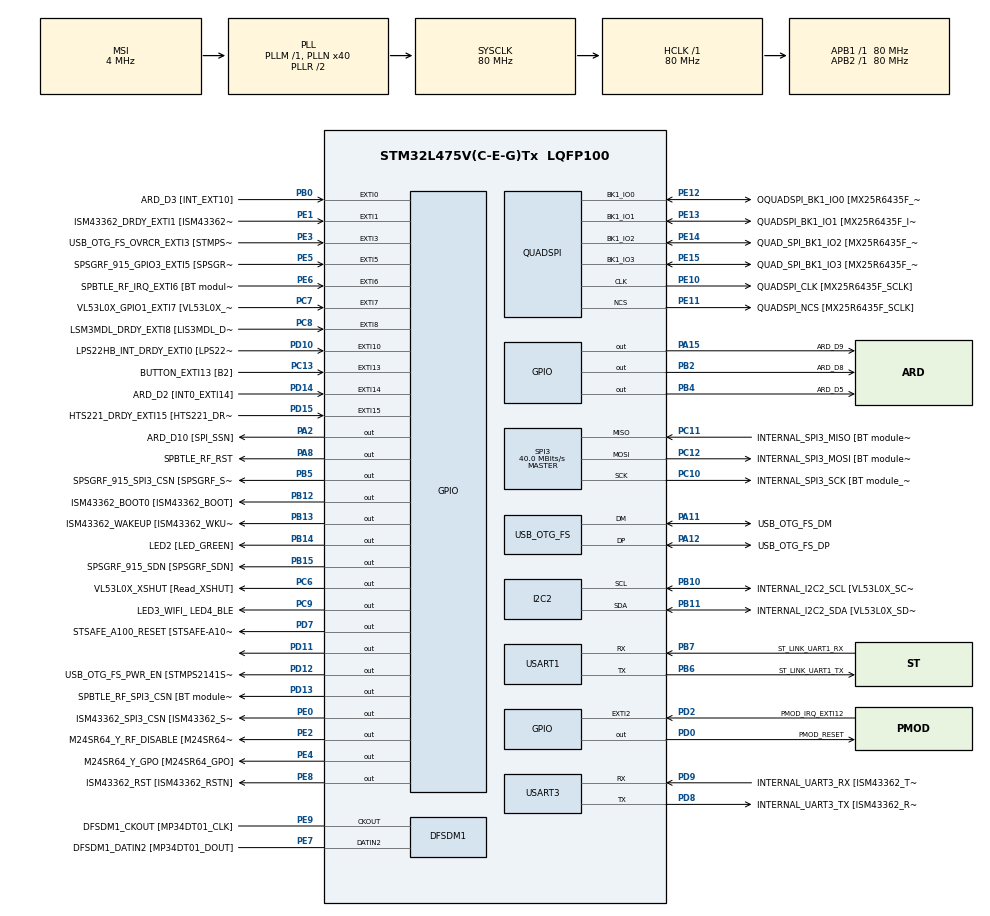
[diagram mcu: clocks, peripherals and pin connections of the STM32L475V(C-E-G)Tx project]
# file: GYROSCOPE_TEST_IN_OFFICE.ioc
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I2C2.Timing=0x10D19CE4
Mcu.Family=STM32L4
Mcu.Name=STM32L475V(C-E-G)Tx
Mcu.Package=LQFP100
NVIC.EXTI15_10_IRQn=true\:0\:0\:false\:false\:true\:true\:true\:true
NVIC.EXTI9_5_IRQn=true\:0\:0\:false\:false\:true\:true\:true\:true
NVIC.PriorityGroup=NVIC_PRIORITYGROUP_4
PA0.GPIO_Label=ARD_D1 [UART4_TX]
PA0.Signal=UART4_TX
PA1.GPIO_Label=ARD_D0 [UART4_RX]
PA1.Signal=UART4_RX
PA10.GPIO_Label=USB_OTG_FS_ID
PA10.Signal=USB_OTG_FS_ID
PA11.GPIO_Label=USB_OTG_FS_DM
PA11.Mode=Device_Only
PA11.Signal=USB_OTG_FS_DM
PA12.GPIO_Label=USB_OTG_FS_DP
PA12.Mode=Device_Only
PA12.Signal=USB_OTG_FS_DP
PA13\ (JTMS-SWDIO).GPIO_Label=SYS_JTMS_SWDIO
PA13\ (JTMS-SWDIO).Mode=Serial_Wire
PA13\ (JTMS-SWDIO).Signal=SYS_JTMS-SWDIO
PA14\ (JTCK-SWCLK).GPIO_Label=SYS_JTCK_SWCLK
PA14\ (JTCK-SWCLK).Mode=Serial_Wire
PA14\ (JTCK-SWCLK).Signal=SYS_JTCK-SWCLK
PA15\ (JTDI).GPIO_Label=ARD_D9
PA15\ (JTDI).Signal=GPIO_Output
PA2.GPIO_Label=ARD_D10 [SPI_SSN]
PA2.Signal=GPIO_Output
PA3.GPIO_Label=ARD_D4
PA3.Signal=S_TIM2_CH4
PA4.GPIO_Label=ARD_D7
PA4.Signal=ADCx_IN9
PA5.GPIO_Label=ARD_D13 [SPI1_SCK]
PA5.Signal=SPI1_SCK
PA6.GPIO_Label=ARD_D12 [SPI1_MISO]
PA6.Signal=SPI1_MISO
PA7.GPIO_Label=ARD_D11 [SPI1_MOSI]
PA7.Signal=SPI1_MOSI
PA8.GPIO_Label=SPBTLE_RF_RST
PA8.Signal=GPIO_Output
PA9.GPIO_Label=USB_OTG_FS_VBUS [STMPS2141STR_OUT]
PA9.Signal=USB_OTG_FS_VBUS
PB0.GPIO_Label=ARD_D3 [INT_EXT10]
PB0.Signal=GPXTI0
PB1.GPIO_Label=ARD_D6 [ADC1_IN6]
PB1.Signal=ADCx_IN16
PB10.GPIO_Label=INTERNAL_I2C2_SCL [VL53L0X_SCL]
PB10.GPIO_Pu=GPIO_PULLUP
PB10.Mode=I2C
PB10.Signal=I2C2_SCL
PB11.GPIO_Label=INTERNAL_I2C2_SDA [VL53L0X_SDA]
PB11.GPIO_Pu=GPIO_PULLUP
PB11.Mode=I2C
PB11.Signal=I2C2_SDA
PB12.GPIO_Label=ISM43362_BOOT0 [ISM43362_BOOT]
PB12.Signal=GPIO_Output
PB13.GPIO_Label=ISM43362_WAKEUP [ISM43362_WKUP]
PB13.Signal=GPIO_Output
PB14.GPIO_Label=LED2 [LED_GREEN]
PB14.Signal=GPIO_Output
PB15.GPIO_Label=SPSGRF_915_SDN [SPSGRF_SDN]
PB15.Signal=GPIO_Output
PB2.GPIO_Label=ARD_D8
PB2.Signal=GPIO_Output
PB3\ (JTDO-TRACESWO).GPIO_Label=SYS_JTD0_SWO
PB3\ (JTDO-TRACESWO).Signal=SYS_JTDO-SWO
PB4\ (NJTRST).GPIO_Label=ARD_D5
PB4\ (NJTRST).Signal=GPIO_Output
PB5.GPIO_Label=SPSGRF_915_SPI3_CSN [SPSGRF_SPI_CS]
PB5.PinState=GPIO_PIN_SET
PB5.Signal=GPIO_Output
PB6.GPIO_Label=ST_LINK_UART1_TX
PB6.Mode=Asynchronous
PB6.Signal=USART1_TX
PB7.GPIO_Label=ST_LINK_UART1_RX
PB7.Mode=Asynchronous
PB7.Signal=USART1_RX
PB8.GPIO_Label=ARD_D15 [I2C1_SCL]
PB8.Signal=I2C1_SCL
PB9.GPIO_Label=ARD_D14 [I2C1_SDA]
PB9.Signal=I2C1_SDA
PC0.GPIO_Label=ARD_A5 [ADC]
PC0.Signal=ADCx_IN1
PC1.GPIO_Label=ARD_A4 [ADC]
PC1.Signal=ADCx_IN2
PC10.GPIO_Label=INTERNAL_SPI3_SCK [BT module_SPI_SCLK] [ISM43362_SCK]
PC10.Mode=Full_Duplex_Master
PC10.Signal=SPI3_SCK
PC11.GPIO_Label=INTERNAL_SPI3_MISO [BT module_SPI_MISO] [ISM43362_MISO]
PC11.Mode=Full_Duplex_Master
PC11.Signal=SPI3_MISO
PC12.GPIO_Label=INTERNAL_SPI3_MOSI [BT module_SPI_MOSI] [ISM43362_MOSI]
PC12.Mode=Full_Duplex_Master
PC12.Signal=SPI3_MOSI
PC13.GPIO_Label=BUTTON_EXTI13 [B2]
PC13.GPIO_ModeDefaultEXTI=GPIO_MODE_IT_FALLING
PC13.Signal=GPXTI13
PC14-OSC32_IN\ (PC14).Mode=LSE-External-Oscillator
PC14-OSC32_IN\ (PC14).Signal=RCC_OSC32_IN
PC15-OSC32_OUT\ (PC15).Mode=LSE-External-Oscillator
PC15-OSC32_OUT\ (PC15).Signal=RCC_OSC32_OUT
PC2.GPIO_Label=ARD_A3 [ADC]
PC2.Signal=ADCx_IN3
PC3.GPIO_Label=ARD_A2 [ADC]
PC3.Signal=ADCx_IN4
PC4.GPIO_Label=ARD_A1 [ADC]
PC4.Signal=ADCx_IN13
PC5.GPIO_Label=ARD_A0 [ADC]
PC5.Signal=ADCx_IN14
PC6.GPIO_Label=VL53L0X_XSHUT [Read_XSHUT]
PC6.Signal=GPIO_Output
PC7.GPIO_Label=VL53L0X_GPIO1_EXTI7 [VL53L0X_GPIO1]
PC7.Signal=GPXTI7
PC8.GPIO_Label=LSM3MDL_DRDY_EXTI8 [LIS3MDL_DRDY]
PC8.Signal=GPXTI8
PC9.GPIO_Label=LED3_WIFI_ LED4_BLE
PC9.Signal=GPIO_Output
PD0.GPIO_Label=PMOD_RESET
PD0.Signal=GPIO_Output
PD1.GPIO_Label=PMOD_SPI2_SCK
PD1.Signal=SPI2_SCK
PD10.GPIO_Label=LPS22HB_INT_DRDY_EXTI0 [LPS22HB_INT_DRDY] 
PD10.Signal=GPXTI10
PD11.PinState=GPIO_PIN_SET
PD11.Signal=GPIO_Output
PD12.GPIO_Label=USB_OTG_FS_PWR_EN [STMPS2141STR_EN]
PD12.Signal=GPIO_Output
PD13.GPIO_Label=SPBTLE_RF_SPI3_CSN [BT module_SPI_CS]
PD13.PinState=GPIO_PIN_SET
PD13.Signal=GPIO_Output
PD14.GPIO_Label=ARD_D2 [INT0_EXTI14]
PD14.Signal=GPXTI14
PD15.GPIO_Label=HTS221_DRDY_EXTI15 [HTS221_DRDY]
PD15.Signal=GPXTI15
PD2.GPIO_Label=PMOD_IRQ_EXTI12
PD2.Signal=GPXTI2
PD3.GPIO_Label=PMOD_UART2_CTS
PD3.Signal=USART2_CTS
PD4.GPIO_Label=PMOD_UART2_RTS
PD4.Signal=USART2_RTS
PD5.GPIO_Label=PMOD_UART2_TX
PD5.Signal=USART2_TX
PD6.GPIO_Label=PMOD_UART2_RX
PD6.Signal=USART2_RX
PD7.GPIO_Label=STSAFE_A100_RESET [STSAFE-A100_RESET]
PD7.Signal=GPIO_Output
PD8.GPIO_Label=INTERNAL_UART3_TX [ISM43362_RX]
PD8.Mode=Asynchronous
PD8.Signal=USART3_TX
PD9.GPIO_Label=INTERNAL_UART3_RX [ISM43362_TX]
PD9.Mode=Asynchronous
PD9.Signal=USART3_RX
PE0.GPIO_Label=ISM43362_SPI3_CSN [ISM43362_SSN]
PE0.PinState=GPIO_PIN_SET
PE0.Signal=GPIO_Output
PE1.GPIO_Label=ISM43362_DRDY_EXTI1 [ISM43362_DATARDY]
PE1.Signal=GPXTI1
PE10.GPIO_Label=QUADSPI_CLK [MX25R6435F_SCLK]
PE10.Mode=Single Bank
PE10.Signal=QUADSPI_CLK
PE11.GPIO_Label=QUADSPI_NCS [MX25R6435F_SCLK]
PE11.Mode=Single Bank
PE11.Signal=QUADSPI_NCS
PE12.GPIO_Label=OQUADSPI_BK1_IO0 [MX25R6435F_IO0]
PE12.Mode=Single Bank
PE12.Signal=QUADSPI_BK1_IO0
PE13.GPIO_Label=QUADSPI_BK1_IO1 [MX25R6435F_IO1]
PE13.Mode=Single Bank
PE13.Signal=QUADSPI_BK1_IO1
PE14.GPIO_Label=QUAD_SPI_BK1_IO2 [MX25R6435F_IO2]
PE14.Mode=Single Bank
PE14.Signal=QUADSPI_BK1_IO2
PE15.GPIO_Label=QUAD_SPI_BK1_IO3 [MX25R6435F_IO3]
PE15.Mode=Single Bank
PE15.Signal=QUADSPI_BK1_IO3
PE2.GPIO_Label=M24SR64_Y_RF_DISABLE [M24SR64_RFDIS]
PE2.Signal=GPIO_Output
PE3.GPIO_Label=USB_OTG_FS_OVRCR_EXTI3 [STMPS2141STR_FAULT]
PE3.Signal=GPXTI3
PE4.GPIO_Label=M24SR64_Y_GPO [M24SR64_GPO]
PE4.Signal=GPIO_Output
PE5.GPIO_Label=SPSGRF_915_GPIO3_EXTI5 [SPSGRF_GPIO_3]
PE5.Signal=GPXTI5
PE6.GPIO_Label=SPBTLE_RF_IRQ_EXTI6 [BT module_SPI_IRQ]
PE6.Signal=GPXTI6
PE7.GPIO_Label=DFSDM1_DATIN2 [MP34DT01_DOUT]
PE7.Signal=S_DATAIN2DFSDM1
PE8.GPIO_Label=ISM43362_RST [ISM43362_RSTN]
PE8.Signal=GPIO_Output
PE9.GPIO_Label=DFSDM1_CKOUT [MP34DT01_CLK]
PE9.Signal=S_CKOUTDFSDM1
ProjectManager.HeapSize=0x200
ProjectManager.StackSize=0x400
ProjectManager.TargetToolchain=STM32CubeIDE
QUADSPI.ClockPrescaler=2
QUADSPI.FifoThreshold=4
QUADSPI.FlashSize=23
QUADSPI.SampleShifting=QSPI_SAMPLE_SHIFTING_HALFCYCLE
RCC.ADCFreq_Value=48000000
RCC.AHBFreq_Value=80000000
RCC.APB1Freq_Value=80000000
RCC.APB1TimFreq_Value=80000000
RCC.APB2Freq_Value=80000000
RCC.APB2TimFreq_Value=80000000
RCC.CortexFreq_Value=80000000
RCC.HCLKFreq_Value=80000000
RCC.HSE_VALUE=8000000
RCC.HSI_VALUE=16000000
RCC.MSI_VALUE=4000000
RCC.PLLN=40
RCC.PLLSAI1N=24
RCC.SYSCLKFreq_VALUE=80000000
RCC.SYSCLKSource=RCC_SYSCLKSOURCE_PLLCLK
RCC.USBFreq_Value=48000000
RCC.VCOOutputFreq_Value=160000000
SH.ADCx_IN1.0=ADC1_IN1
SH.ADCx_IN13.0=ADC1_IN13
SH.ADCx_IN14.0=ADC1_IN14
SH.ADCx_IN16.0=ADC1_IN16
SH.ADCx_IN2.0=ADC1_IN2
SH.ADCx_IN3.0=ADC1_IN3
SH.ADCx_IN4.0=ADC1_IN4
SH.ADCx_IN9.0=ADC1_IN9
SH.S_CKOUTDFSDM1.0=DFSDM1_CKOUT,CKOUT
SH.S_CKOUTDFSDM1.1=DFSDM1_CKOUT,PDM_SPI_Input_from_ch12_and_Internal_Clock
SH.S_DATAIN2DFSDM1.0=DFSDM1_DATIN2,PDM_SPI_Input_from_ch12_and_Internal_Clock
SH.S_TIM2_CH4.0=TIM2_CH4
SPI3.CalculateBaudRate=40.0 MBits/s
SPI3.Direction=SPI_DIRECTION_2LINES
SPI3.Mode=SPI_MODE_MASTER
SPI3.VirtualType=VM_MASTER
USART1.VirtualMode-Asynchronous=VM_ASYNC
USART3.VirtualMode-Asynchronous=VM_ASYNC
USB_OTG_FS.VirtualMode=Device_Only
board=B-L475E-IOT01A2

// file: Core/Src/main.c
/* USER CODE BEGIN Header */
/**
  ******************************************************************************
  * @file           : main.c
  * @brief          : Main program body
  ******************************************************************************
  * @attention
  *
  * Copyright (c) 2025 STMicroelectronics.
  * All rights reserved.
  *
  * This software is licensed under terms that can be found in the LICENSE file
  * in the root directory of this software component.
  * If no LICENSE file comes with this software, it is provided AS-IS.
  *
  ******************************************************************************
  */
/* USER CODE END Header */
#include "main.h"
#include <stdio.h>
#include <string.h>

/* USER CODE BEGIN PD */
#define LSM6DSL_I2C_ADDR    0xD4  // 7-bit address shifted left
#define LSM6DSL_WHO_AM_I    0x0F
#define LSM6DSL_CTRL2_G     0x11  // Gyroscope control register
#define LSM6DSL_OUTX_L_G    0x22  // Gyroscope X-axis low byte
#define LSM6DSL_OUTX_H_G    0x23  // Gyroscope X-axis high byte
#define LSM6DSL_OUTY_L_G    0x24  // Gyroscope Y-axis low byte
#define LSM6DSL_OUTY_H_G    0x25  // Gyroscope Y-axis high byte
#define LSM6DSL_OUTZ_L_G    0x26  // Gyroscope Z-axis low byte
#define LSM6DSL_OUTZ_H_G    0x27  // Gyroscope Z-axis high byte
/* USER CODE END PD */

DFSDM_Channel_HandleTypeDef hdfsdm1_channel1;

I2C_HandleTypeDef hi2c2;

QSPI_HandleTypeDef hqspi;

SPI_HandleTypeDef hspi3;

UART_HandleTypeDef huart1;
UART_HandleTypeDef huart3;

PCD_HandleTypeDef hpcd_USB_OTG_FS;

void SystemClock_Config(void);
static void MX_GPIO_Init(void);
static void MX_DFSDM1_Init(void);
static void MX_I2C2_Init(void);
static void MX_QUADSPI_Init(void);
static void MX_SPI3_Init(void);
static void MX_USART1_UART_Init(void);
static void MX_USART3_UART_Init(void);
static void MX_USB_OTG_FS_PCD_Init(void);

/* USER CODE BEGIN 0 */
// Function to write to LSM6DSL register
HAL_StatusTypeDef LSM6DSL_WriteReg(uint8_t reg, uint8_t value) {
    return HAL_I2C_Mem_Write(&hi2c2, LSM6DSL_I2C_ADDR, reg, 1, &value, 1, 1000);
}

// Function to read from LSM6DSL register
HAL_StatusTypeDef LSM6DSL_ReadReg(uint8_t reg, uint8_t *data) {
    return HAL_I2C_Mem_Read(&hi2c2, LSM6DSL_I2C_ADDR, reg, 1, data, 1, 1000);
}

// Function to read multiple registers
HAL_StatusTypeDef LSM6DSL_ReadRegs(uint8_t reg, uint8_t *data, uint8_t length) {
    return HAL_I2C_Mem_Read(&hi2c2, LSM6DSL_I2C_ADDR, reg, 1, data, length, 1000);
}

// Initialize gyroscope
HAL_StatusTypeDef LSM6DSL_Init(void) {
    uint8_t who_am_i;

    // Read WHO_AM_I register
    if (LSM6DSL_ReadReg(LSM6DSL_WHO_AM_I, &who_am_i) != HAL_OK) {
        return HAL_ERROR;
    }

    // Check if device is present (should return 0x6A)
    if (who_am_i != 0x6A) {
        return HAL_ERROR;
    }

    // Configure gyroscope: 208 Hz, 2000 dps
    if (LSM6DSL_WriteReg(LSM6DSL_CTRL2_G, 0x5C) != HAL_OK) {
        return HAL_ERROR;
    }

    return HAL_OK;
}

// Read gyroscope data
HAL_StatusTypeDef LSM6DSL_ReadGyro(int16_t *gyro_x, int16_t *gyro_y, int16_t *gyro_z) {
    uint8_t data[6];

    // Read all 6 bytes at once
    if (LSM6DSL_ReadRegs(LSM6DSL_OUTX_L_G, data, 6) != HAL_OK) {
        return HAL_ERROR;
    }

    // Combine high and low bytes
    *gyro_x = (int16_t)((data[1] << 8) | data[0]);
    *gyro_y = (int16_t)((data[3] << 8) | data[2]);
    *gyro_z = (int16_t)((data[5] << 8) | data[4]);

    return HAL_OK;
}

// Convert raw data to degrees per second
float LSM6DSL_ConvertGyro(int16_t raw_value) {
    // For 2000 dps range: 70 mdps/LSB
    return (float)raw_value * 0.070f;
}

// Printf redirection for UART
int _write(int file, char *ptr, int len) {
    HAL_UART_Transmit(&huart1, (uint8_t*)ptr, len, 1000);
    return len;
}
/* USER CODE END 0 */

int main(void)
{

  /* MCU Configuration--------------------------------------------------------*/

  /* Reset of all peripherals, Initializes the Flash interface and the Systick. */
  HAL_Init();

  /* Configure the system clock */
  SystemClock_Config();

  /* Initialize all configured peripherals */
  MX_GPIO_Init();
  MX_DFSDM1_Init();
  MX_I2C2_Init();
  MX_QUADSPI_Init();
  MX_SPI3_Init();
  MX_USART1_UART_Init();
  MX_USART3_UART_Init();
  MX_USB_OTG_FS_PCD_Init();
  /* USER CODE BEGIN 2 */
  // Initialize gyroscope
  printf("Initializing LSM6DSL gyroscope...\r\n");

  if (LSM6DSL_Init() == HAL_OK) {
      printf("LSM6DSL gyroscope initialized successfully!\r\n");
  } else {
      printf("Failed to initialize LSM6DSL gyroscope!\r\n");
      Error_Handler();
  }

  HAL_Delay(100);
  /* USER CODE END 2 */

  /* Infinite loop */
  while (1)
  {

    /* USER CODE BEGIN 3 */
	  int16_t gyro_x, gyro_y, gyro_z;
	  int gyro_x_dps, gyro_y_dps, gyro_z_dps;

	  // Read gyroscope data
	  if (LSM6DSL_ReadGyro(&gyro_x, &gyro_y, &gyro_z) == HAL_OK) {
	      // Convert to degrees per second
	      gyro_x_dps = LSM6DSL_ConvertGyro(gyro_x);
	      gyro_y_dps = LSM6DSL_ConvertGyro(gyro_y);
	      gyro_z_dps = LSM6DSL_ConvertGyro(gyro_z);

	      // Print values
	      printf("Gyro X: %d dps, Y: %d dps, Z: %d dps\r\n",
	             gyro_x_dps, gyro_y_dps, gyro_z_dps);
	  } else {
	      printf("Failed to read gyroscope data!\r\n");
	  }

	  HAL_Delay(100);  // 100ms delay between readings
  }
  /* USER CODE END 3 */
}

void SystemClock_Config(void)
{
  RCC_OscInitTypeDef RCC_OscInitStruct = {0};
  RCC_ClkInitTypeDef RCC_ClkInitStruct = {0};

  /** Configure the main internal regulator output voltage
  */
  if (HAL_PWREx_ControlVoltageScaling(PWR_REGULATOR_VOLTAGE_SCALE1) != HAL_OK)
  {
    Error_Handler();
  }

  /** Configure LSE Drive Capability
  */
  HAL_PWR_EnableBkUpAccess();
  __HAL_RCC_LSEDRIVE_CONFIG(RCC_LSEDRIVE_LOW);

  /** Initializes the RCC Oscillators according to the specified parameters
  * in the RCC_OscInitTypeDef structure.
  */
  RCC_OscInitStruct.OscillatorType = RCC_OSCILLATORTYPE_LSE|RCC_OSCILLATORTYPE_MSI;
  RCC_OscInitStruct.LSEState = RCC_LSE_ON;
  RCC_OscInitStruct.MSIState = RCC_MSI_ON;
  RCC_OscInitStruct.MSICalibrationValue = 0;
  RCC_OscInitStruct.MSIClockRange = RCC_MSIRANGE_6;
  RCC_OscInitStruct.PLL.PLLState = RCC_PLL_ON;
  RCC_OscInitStruct.PLL.PLLSource = RCC_PLLSOURCE_MSI;
  RCC_OscInitStruct.PLL.PLLM = 1;
  RCC_OscInitStruct.PLL.PLLN = 40;
  RCC_OscInitStruct.PLL.PLLP = RCC_PLLP_DIV7;
  RCC_OscInitStruct.PLL.PLLQ = RCC_PLLQ_DIV2;
  RCC_OscInitStruct.PLL.PLLR = RCC_PLLR_DIV2;
  if (HAL_RCC_OscConfig(&RCC_OscInitStruct) != HAL_OK)
  {
    Error_Handler();
  }

  /** Initializes the CPU, AHB and APB buses clocks
  */
  RCC_ClkInitStruct.ClockType = RCC_CLOCKTYPE_HCLK|RCC_CLOCKTYPE_SYSCLK
                              |RCC_CLOCKTYPE_PCLK1|RCC_CLOCKTYPE_PCLK2;
  RCC_ClkInitStruct.SYSCLKSource = RCC_SYSCLKSOURCE_PLLCLK;
  RCC_ClkInitStruct.AHBCLKDivider = RCC_SYSCLK_DIV1;
  RCC_ClkInitStruct.APB1CLKDivider = RCC_HCLK_DIV1;
  RCC_ClkInitStruct.APB2CLKDivider = RCC_HCLK_DIV1;

  if (HAL_RCC_ClockConfig(&RCC_ClkInitStruct, FLASH_LATENCY_4) != HAL_OK)
  {
    Error_Handler();
  }

  /** Enable MSI Auto calibration
  */
  HAL_RCCEx_EnableMSIPLLMode();
}

static void MX_DFSDM1_Init(void)
{

  hdfsdm1_channel1.Instance = DFSDM1_Channel1;
  hdfsdm1_channel1.Init.OutputClock.Activation = ENABLE;
  hdfsdm1_channel1.Init.OutputClock.Selection = DFSDM_CHANNEL_OUTPUT_CLOCK_SYSTEM;
  hdfsdm1_channel1.Init.OutputClock.Divider = 2;
  hdfsdm1_channel1.Init.Input.Multiplexer = DFSDM_CHANNEL_EXTERNAL_INPUTS;
  hdfsdm1_channel1.Init.Input.DataPacking = DFSDM_CHANNEL_STANDARD_MODE;
  hdfsdm1_channel1.Init.Input.Pins = DFSDM_CHANNEL_FOLLOWING_CHANNEL_PINS;
  hdfsdm1_channel1.Init.SerialInterface.Type = DFSDM_CHANNEL_SPI_RISING;
  hdfsdm1_channel1.Init.SerialInterface.SpiClock = DFSDM_CHANNEL_SPI_CLOCK_INTERNAL;
  hdfsdm1_channel1.Init.Awd.FilterOrder = DFSDM_CHANNEL_FASTSINC_ORDER;
  hdfsdm1_channel1.Init.Awd.Oversampling = 1;
  hdfsdm1_channel1.Init.Offset = 0;
  hdfsdm1_channel1.Init.RightBitShift = 0x00;
  if (HAL_DFSDM_ChannelInit(&hdfsdm1_channel1) != HAL_OK)
  {
    Error_Handler();
  }

}

static void MX_I2C2_Init(void)
{

  hi2c2.Instance = I2C2;
  hi2c2.Init.Timing = 0x10D19CE4;
  hi2c2.Init.OwnAddress1 = 0;
  hi2c2.Init.AddressingMode = I2C_ADDRESSINGMODE_7BIT;
  hi2c2.Init.DualAddressMode = I2C_DUALADDRESS_DISABLE;
  hi2c2.Init.OwnAddress2 = 0;
  hi2c2.Init.OwnAddress2Masks = I2C_OA2_NOMASK;
  hi2c2.Init.GeneralCallMode = I2C_GENERALCALL_DISABLE;
  hi2c2.Init.NoStretchMode = I2C_NOSTRETCH_DISABLE;
  if (HAL_I2C_Init(&hi2c2) != HAL_OK)
  {
    Error_Handler();
  }

  /** Configure Analogue filter
  */
  if (HAL_I2CEx_ConfigAnalogFilter(&hi2c2, I2C_ANALOGFILTER_ENABLE) != HAL_OK)
  {
    Error_Handler();
  }

  /** Configure Digital filter
  */
  if (HAL_I2CEx_ConfigDigitalFilter(&hi2c2, 0) != HAL_OK)
  {
    Error_Handler();
  }

}

static void MX_QUADSPI_Init(void)
{

  /* QUADSPI parameter configuration*/
  hqspi.Instance = QUADSPI;
  hqspi.Init.ClockPrescaler = 2;
  hqspi.Init.FifoThreshold = 4;
  hqspi.Init.SampleShifting = QSPI_SAMPLE_SHIFTING_HALFCYCLE;
  hqspi.Init.FlashSize = 23;
  hqspi.Init.ChipSelectHighTime = QSPI_CS_HIGH_TIME_1_CYCLE;
  hqspi.Init.ClockMode = QSPI_CLOCK_MODE_0;
  if (HAL_QSPI_Init(&hqspi) != HAL_OK)
  {
    Error_Handler();
  }

}

static void MX_SPI3_Init(void)
{

  /* SPI3 parameter configuration*/
  hspi3.Instance = SPI3;
  hspi3.Init.Mode = SPI_MODE_MASTER;
  hspi3.Init.Direction = SPI_DIRECTION_2LINES;
  hspi3.Init.DataSize = SPI_DATASIZE_4BIT;
  hspi3.Init.CLKPolarity = SPI_POLARITY_LOW;
  hspi3.Init.CLKPhase = SPI_PHASE_1EDGE;
  hspi3.Init.NSS = SPI_NSS_SOFT;
  hspi3.Init.BaudRatePrescaler = SPI_BAUDRATEPRESCALER_2;
  hspi3.Init.FirstBit = SPI_FIRSTBIT_MSB;
  hspi3.Init.TIMode = SPI_TIMODE_DISABLE;
  hspi3.Init.CRCCalculation = SPI_CRCCALCULATION_DISABLE;
  hspi3.Init.CRCPolynomial = 7;
  hspi3.Init.CRCLength = SPI_CRC_LENGTH_DATASIZE;
  hspi3.Init.NSSPMode = SPI_NSS_PULSE_ENABLE;
  if (HAL_SPI_Init(&hspi3) != HAL_OK)
  {
    Error_Handler();
  }

}

static void MX_USART1_UART_Init(void)
{

  huart1.Instance = USART1;
  huart1.Init.BaudRate = 115200;
  huart1.Init.WordLength = UART_WORDLENGTH_8B;
  huart1.Init.StopBits = UART_STOPBITS_1;
  huart1.Init.Parity = UART_PARITY_NONE;
  huart1.Init.Mode = UART_MODE_TX_RX;
  huart1.Init.HwFlowCtl = UART_HWCONTROL_NONE;
  huart1.Init.OverSampling = UART_OVERSAMPLING_16;
  huart1.Init.OneBitSampling = UART_ONE_BIT_SAMPLE_DISABLE;
  huart1.AdvancedInit.AdvFeatureInit = UART_ADVFEATURE_NO_INIT;
  if (HAL_UART_Init(&huart1) != HAL_OK)
  {
    Error_Handler();
  }

}

static void MX_USART3_UART_Init(void)
{

  huart3.Instance = USART3;
  huart3.Init.BaudRate = 115200;
  huart3.Init.WordLength = UART_WORDLENGTH_8B;
  huart3.Init.StopBits = UART_STOPBITS_1;
  huart3.Init.Parity = UART_PARITY_NONE;
  huart3.Init.Mode = UART_MODE_TX_RX;
  huart3.Init.HwFlowCtl = UART_HWCONTROL_NONE;
  huart3.Init.OverSampling = UART_OVERSAMPLING_16;
  huart3.Init.OneBitSampling = UART_ONE_BIT_SAMPLE_DISABLE;
  huart3.AdvancedInit.AdvFeatureInit = UART_ADVFEATURE_NO_INIT;
  if (HAL_UART_Init(&huart3) != HAL_OK)
  {
    Error_Handler();
  }

}

static void MX_USB_OTG_FS_PCD_Init(void)
{

  hpcd_USB_OTG_FS.Instance = USB_OTG_FS;
  hpcd_USB_OTG_FS.Init.dev_endpoints = 6;
  hpcd_USB_OTG_FS.Init.speed = PCD_SPEED_FULL;
  hpcd_USB_OTG_FS.Init.phy_itface = PCD_PHY_EMBEDDED;
  hpcd_USB_OTG_FS.Init.Sof_enable = DISABLE;
  hpcd_USB_OTG_FS.Init.low_power_enable = DISABLE;
  hpcd_USB_OTG_FS.Init.lpm_enable = DISABLE;
  hpcd_USB_OTG_FS.Init.battery_charging_enable = DISABLE;
  hpcd_USB_OTG_FS.Init.use_dedicated_ep1 = DISABLE;
  hpcd_USB_OTG_FS.Init.vbus_sensing_enable = DISABLE;
  if (HAL_PCD_Init(&hpcd_USB_OTG_FS) != HAL_OK)
  {
    Error_Handler();
  }

}

static void MX_GPIO_Init(void)
{
  GPIO_InitTypeDef GPIO_InitStruct = {0};

  /* GPIO Ports Clock Enable */
  __HAL_RCC_GPIOE_CLK_ENABLE();
  __HAL_RCC_GPIOC_CLK_ENABLE();
  __HAL_RCC_GPIOA_CLK_ENABLE();
  __HAL_RCC_GPIOB_CLK_ENABLE();
  __HAL_RCC_GPIOD_CLK_ENABLE();

  /*Configure GPIO pin Output Level */
  HAL_GPIO_WritePin(GPIOE, M24SR64_Y_RF_DISABLE_Pin|M24SR64_Y_GPO_Pin|ISM43362_RST_Pin, GPIO_PIN_RESET);

  /*Configure GPIO pin Output Level */
  HAL_GPIO_WritePin(GPIOA, ARD_D10_Pin|SPBTLE_RF_RST_Pin|ARD_D9_Pin, GPIO_PIN_RESET);

  /*Configure GPIO pin Output Level */
  HAL_GPIO_WritePin(GPIOB, ARD_D8_Pin|ISM43362_BOOT0_Pin|ISM43362_WAKEUP_Pin|LED2_Pin
                          |SPSGRF_915_SDN_Pin|ARD_D5_Pin, GPIO_PIN_RESET);

  /*Configure GPIO pin Output Level */
  HAL_GPIO_WritePin(GPIOD, GPIO_PIN_11|SPBTLE_RF_SPI3_CSN_Pin, GPIO_PIN_SET);

  /*Configure GPIO pin Output Level */
  HAL_GPIO_WritePin(GPIOD, USB_OTG_FS_PWR_EN_Pin|PMOD_RESET_Pin|STSAFE_A100_RESET_Pin, GPIO_PIN_RESET);

  /*Configure GPIO pin Output Level */
  HAL_GPIO_WritePin(GPIOC, VL53L0X_XSHUT_Pin|LED3_WIFI__LED4_BLE_Pin, GPIO_PIN_RESET);

  /*Configure GPIO pin Output Level */
  HAL_GPIO_WritePin(SPSGRF_915_SPI3_CSN_GPIO_Port, SPSGRF_915_SPI3_CSN_Pin, GPIO_PIN_SET);

  /*Configure GPIO pin Output Level */
  HAL_GPIO_WritePin(ISM43362_SPI3_CSN_GPIO_Port, ISM43362_SPI3_CSN_Pin, GPIO_PIN_SET);

  /*Configure GPIO pins : M24SR64_Y_RF_DISABLE_Pin M24SR64_Y_GPO_Pin ISM43362_RST_Pin ISM43362_SPI3_CSN_Pin */
  GPIO_InitStruct.Pin = M24SR64_Y_RF_DISABLE_Pin|M24SR64_Y_GPO_Pin|ISM43362_RST_Pin|ISM43362_SPI3_CSN_Pin;
  GPIO_InitStruct.Mode = GPIO_MODE_OUTPUT_PP;
  GPIO_InitStruct.Pull = GPIO_NOPULL;
  GPIO_InitStruct.Speed = GPIO_SPEED_FREQ_LOW;
  HAL_GPIO_Init(GPIOE, &GPIO_InitStruct);

  /*Configure GPIO pins : USB_OTG_FS_OVRCR_EXTI3_Pin SPSGRF_915_GPIO3_EXTI5_Pin SPBTLE_RF_IRQ_EXTI6_Pin ISM43362_DRDY_EXTI1_Pin */
  GPIO_InitStruct.Pin = USB_OTG_FS_OVRCR_EXTI3_Pin|SPSGRF_915_GPIO3_EXTI5_Pin|SPBTLE_RF_IRQ_EXTI6_Pin|ISM43362_DRDY_EXTI1_Pin;
  GPIO_InitStruct.Mode = GPIO_MODE_IT_RISING;
  GPIO_InitStruct.Pull = GPIO_NOPULL;
  HAL_GPIO_Init(GPIOE, &GPIO_InitStruct);

  /*Configure GPIO pin : BUTTON_EXTI13_Pin */
  GPIO_InitStruct.Pin = BUTTON_EXTI13_Pin;
  GPIO_InitStruct.Mode = GPIO_MODE_IT_FALLING;
  GPIO_InitStruct.Pull = GPIO_NOPULL;
  HAL_GPIO_Init(BUTTON_EXTI13_GPIO_Port, &GPIO_InitStruct);

  /*Configure GPIO pins : ARD_A5_Pin ARD_A4_Pin ARD_A3_Pin ARD_A2_Pin
                           ARD_A1_Pin ARD_A0_Pin */
  GPIO_InitStruct.Pin = ARD_A5_Pin|ARD_A4_Pin|ARD_A3_Pin|ARD_A2_Pin
                          |ARD_A1_Pin|ARD_A0_Pin;
  GPIO_InitStruct.Mode = GPIO_MODE_ANALOG_ADC_CONTROL;
  GPIO_InitStruct.Pull = GPIO_NOPULL;
  HAL_GPIO_Init(GPIOC, &GPIO_InitStruct);

  /*Configure GPIO pins : ARD_D1_Pin ARD_D0_Pin */
  GPIO_InitStruct.Pin = ARD_D1_Pin|ARD_D0_Pin;
  GPIO_InitStruct.Mode = GPIO_MODE_AF_PP;
  GPIO_InitStruct.Pull = GPIO_NOPULL;
  GPIO_InitStruct.Speed = GPIO_SPEED_FREQ_VERY_HIGH;
  GPIO_InitStruct.Alternate = GPIO_AF8_UART4;
  HAL_GPIO_Init(GPIOA, &GPIO_InitStruct);

  /*Configure GPIO pins : ARD_D10_Pin SPBTLE_RF_RST_Pin ARD_D9_Pin */
  GPIO_InitStruct.Pin = ARD_D10_Pin|SPBTLE_RF_RST_Pin|ARD_D9_Pin;
  GPIO_InitStruct.Mode = GPIO_MODE_OUTPUT_PP;
  GPIO_InitStruct.Pull = GPIO_NOPULL;
  GPIO_InitStruct.Speed = GPIO_SPEED_FREQ_LOW;
  HAL_GPIO_Init(GPIOA, &GPIO_InitStruct);

  /*Configure GPIO pin : ARD_D4_Pin */
  GPIO_InitStruct.Pin = ARD_D4_Pin;
  GPIO_InitStruct.Mode = GPIO_MODE_AF_PP;
  GPIO_InitStruct.Pull = GPIO_NOPULL;
  GPIO_InitStruct.Speed = GPIO_SPEED_FREQ_LOW;
  GPIO_InitStruct.Alternate = GPIO_AF1_TIM2;
  HAL_GPIO_Init(ARD_D4_GPIO_Port, &GPIO_InitStruct);

  /*Configure GPIO pin : ARD_D7_Pin */
  GPIO_InitStruct.Pin = ARD_D7_Pin;
  GPIO_InitStruct.Mode = GPIO_MODE_ANALOG_ADC_CONTROL;
  GPIO_InitStruct.Pull = GPIO_NOPULL;
  HAL_GPIO_Init(ARD_D7_GPIO_Port, &GPIO_InitStruct);

  /*Configure GPIO pins : ARD_D13_Pin ARD_D12_Pin ARD_D11_Pin */
  GPIO_InitStruct.Pin = ARD_D13_Pin|ARD_D12_Pin|ARD_D11_Pin;
  GPIO_InitStruct.Mode = GPIO_MODE_AF_PP;
  GPIO_InitStruct.Pull = GPIO_NOPULL;
  GPIO_InitStruct.Speed = GPIO_SPEED_FREQ_VERY_HIGH;
  GPIO_InitStruct.Alternate = GPIO_AF5_SPI1;
  HAL_GPIO_Init(GPIOA, &GPIO_InitStruct);

  /*Configure GPIO pin : ARD_D3_Pin */
  GPIO_InitStruct.Pin = ARD_D3_Pin;
  GPIO_InitStruct.Mode = GPIO_MODE_IT_RISING;
  GPIO_InitStruct.Pull = GPIO_NOPULL;
  HAL_GPIO_Init(ARD_D3_GPIO_Port, &GPIO_InitStruct);

  /*Configure GPIO pin : ARD_D6_Pin */
  GPIO_InitStruct.Pin = ARD_D6_Pin;
  GPIO_InitStruct.Mode = GPIO_MODE_ANALOG_ADC_CONTROL;
  GPIO_InitStruct.Pull = GPIO_NOPULL;
  HAL_GPIO_Init(ARD_D6_GPIO_Port, &GPIO_InitStruct);

  /*Configure GPIO pins : ARD_D8_Pin ISM43362_BOOT0_Pin ISM43362_WAKEUP_Pin LED2_Pin
                           SPSGRF_915_SDN_Pin ARD_D5_Pin SPSGRF_915_SPI3_CSN_Pin */
  GPIO_InitStruct.Pin = ARD_D8_Pin|ISM43362_BOOT0_Pin|ISM43362_WAKEUP_Pin|LED2_Pin
                          |SPSGRF_915_SDN_Pin|ARD_D5_Pin|SPSGRF_915_SPI3_CSN_Pin;
  GPIO_InitStruct.Mode = GPIO_MODE_OUTPUT_PP;
  GPIO_InitStruct.Pull = GPIO_NOPULL;
  GPIO_InitStruct.Speed = GPIO_SPEED_FREQ_LOW;
  HAL_GPIO_Init(GPIOB, &GPIO_InitStruct);

  /*Configure GPIO pins : LPS22HB_INT_DRDY_EXTI0_Pin ARD_D2_Pin HTS221_DRDY_EXTI15_Pin PMOD_IRQ_EXTI12_Pin */
  GPIO_InitStruct.Pin = LPS22HB_INT_DRDY_EXTI0_Pin|ARD_D2_Pin|HTS221_DRDY_EXTI15_Pin|PMOD_IRQ_EXTI12_Pin;
  GPIO_InitStruct.Mode = GPIO_MODE_IT_RISING;
  GPIO_InitStruct.Pull = GPIO_NOPULL;
  HAL_GPIO_Init(GPIOD, &GPIO_InitStruct);

  /*Configure GPIO pins : PD11 USB_OTG_FS_PWR_EN_Pin SPBTLE_RF_SPI3_CSN_Pin PMOD_RESET_Pin
                           STSAFE_A100_RESET_Pin */
  GPIO_InitStruct.Pin = GPIO_PIN_11|USB_OTG_FS_PWR_EN_Pin|SPBTLE_RF_SPI3_CSN_Pin|PMOD_RESET_Pin
                          |STSAFE_A100_RESET_Pin;
  GPIO_InitStruct.Mode = GPIO_MODE_OUTPUT_PP;
  GPIO_InitStruct.Pull = GPIO_NOPULL;
  GPIO_InitStruct.Speed = GPIO_SPEED_FREQ_LOW;
  HAL_GPIO_Init(GPIOD, &GPIO_InitStruct);

  /*Configure GPIO pins : VL53L0X_XSHUT_Pin LED3_WIFI__LED4_BLE_Pin */
  GPIO_InitStruct.Pin = VL53L0X_XSHUT_Pin|LED3_WIFI__LED4_BLE_Pin;
  GPIO_InitStruct.Mode = GPIO_MODE_OUTPUT_PP;
  GPIO_InitStruct.Pull = GPIO_NOPULL;
  GPIO_InitStruct.Speed = GPIO_SPEED_FREQ_LOW;
  HAL_GPIO_Init(GPIOC, &GPIO_InitStruct);

  /*Configure GPIO pins : VL53L0X_GPIO1_EXTI7_Pin LSM3MDL_DRDY_EXTI8_Pin */
  GPIO_InitStruct.Pin = VL53L0X_GPIO1_EXTI7_Pin|LSM3MDL_DRDY_EXTI8_Pin;
  GPIO_InitStruct.Mode = GPIO_MODE_IT_RISING;
  GPIO_InitStruct.Pull = GPIO_NOPULL;
  HAL_GPIO_Init(GPIOC, &GPIO_InitStruct);

  /*Configure GPIO pin : PMOD_SPI2_SCK_Pin */
  GPIO_InitStruct.Pin = PMOD_SPI2_SCK_Pin;
  GPIO_InitStruct.Mode = GPIO_MODE_AF_PP;
  GPIO_InitStruct.Pull = GPIO_NOPULL;
  GPIO_InitStruct.Speed = GPIO_SPEED_FREQ_VERY_HIGH;
  GPIO_InitStruct.Alternate = GPIO_AF5_SPI2;
  HAL_GPIO_Init(PMOD_SPI2_SCK_GPIO_Port, &GPIO_InitStruct);

  /*Configure GPIO pins : PMOD_UART2_CTS_Pin PMOD_UART2_RTS_Pin PMOD_UART2_TX_Pin PMOD_UART2_RX_Pin */
  GPIO_InitStruct.Pin = PMOD_UART2_CTS_Pin|PMOD_UART2_RTS_Pin|PMOD_UART2_TX_Pin|PMOD_UART2_RX_Pin;
  GPIO_InitStruct.Mode = GPIO_MODE_AF_PP;
  GPIO_InitStruct.Pull = GPIO_NOPULL;
  GPIO_InitStruct.Speed = GPIO_SPEED_FREQ_VERY_HIGH;
  GPIO_InitStruct.Alternate = GPIO_AF7_USART2;
  HAL_GPIO_Init(GPIOD, &GPIO_InitStruct);

  /*Configure GPIO pins : ARD_D15_Pin ARD_D14_Pin */
  GPIO_InitStruct.Pin = ARD_D15_Pin|ARD_D14_Pin;
  GPIO_InitStruct.Mode = GPIO_MODE_AF_OD;
  GPIO_InitStruct.Pull = GPIO_NOPULL;
  GPIO_InitStruct.Speed = GPIO_SPEED_FREQ_VERY_HIGH;
  GPIO_InitStruct.Alternate = GPIO_AF4_I2C1;
  HAL_GPIO_Init(GPIOB, &GPIO_InitStruct);

  /* EXTI interrupt init*/
  HAL_NVIC_SetPriority(EXTI9_5_IRQn, 0, 0);
  HAL_NVIC_EnableIRQ(EXTI9_5_IRQn);

  HAL_NVIC_SetPriority(EXTI15_10_IRQn, 0, 0);
  HAL_NVIC_EnableIRQ(EXTI15_10_IRQn);

}

void Error_Handler(void)
{
  __disable_irq();
  while (1)
  {
  }
}
